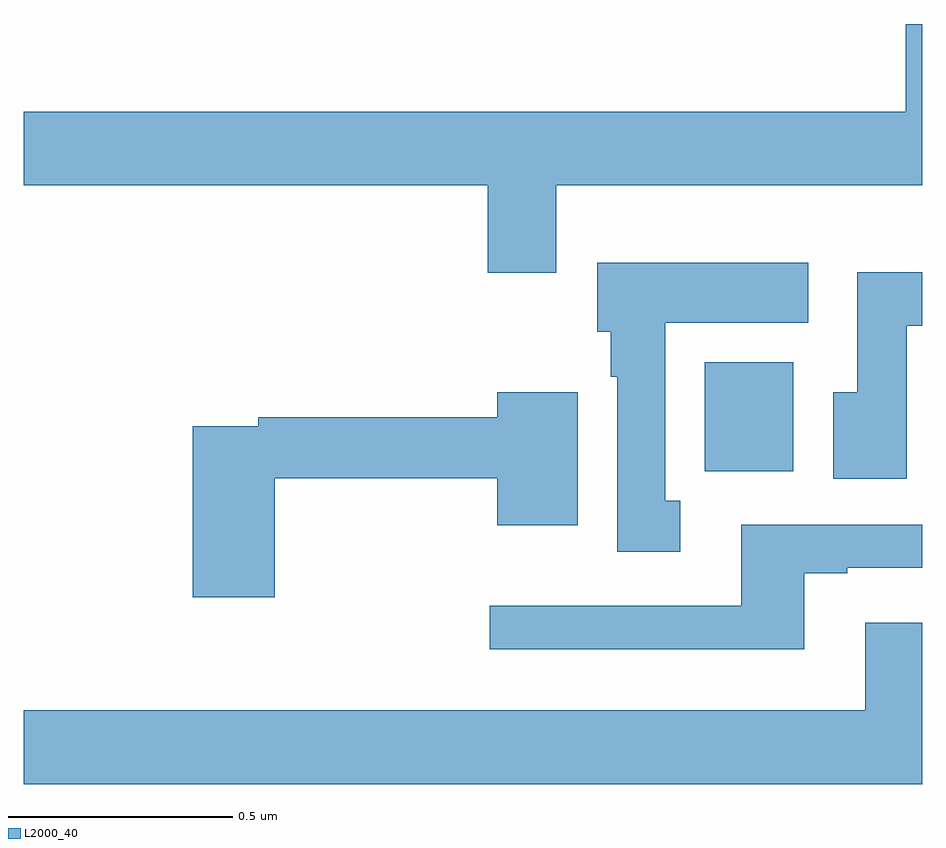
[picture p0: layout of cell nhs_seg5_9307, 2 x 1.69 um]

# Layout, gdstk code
import gdstk
lib = gdstk.Library(unit=1e-6, precision=1e-09)
def R(c, l, rs):  # rectangles x0, y0, x1, y1
    for r in rs: c.add(gdstk.rectangle(r[:2], r[2:], *l))
def P(c, l, *ps):  # polygons
    for p in ps: c.add(gdstk.Polygon(p, *l))
L2000_40 = (2000, 40)

nhs_seg5_9307 = lib.new_cell('nhs_seg5_9307')
R(nhs_seg5_9307, L2000_40, [(233.516,874.772,233.713,875.014)])
P(nhs_seg5_9307, L2000_40, [(233.185,875.408),(234,875.408),(234,875.767),(233.963,875.767),(233.963,875.572),(232,875.572),(232,875.408),(233.033,875.408),(233.033,875.214),(233.185,875.214)],
  [(233.461,874.706),(233.428,874.706),(233.428,875.102),(233.746,875.102),(233.746,875.236),(233.276,875.236),(233.276,875.082),(233.306,875.082),(233.306,874.982),(233.321,874.982),(233.321,874.593),(233.461,874.593)],
  [(233.965,875.096),(234,875.096),(234,875.215),(233.855,875.215),(233.855,874.948),(233.801,874.948),(233.801,874.755),(233.965,874.755)],
  [(232.559,874.756),(233.054,874.756),(233.054,874.652),(233.233,874.652),(233.233,874.948),(233.054,874.948),(233.054,874.892),(232.522,874.892),(232.522,874.872),(232.376,874.872),(232.376,874.491),(232.559,874.491)],
  [(233.737,874.545),(233.833,874.545),(233.833,874.557),(234,874.557),(234,874.653),(233.597,874.653),(233.597,874.473),(233.037,874.473),(233.037,874.376),(233.737,874.376)],
  [(234,874.435),(233.873,874.435),(233.873,874.24),(232,874.24),(232,874.076),(234,874.076)])

lib.write_gds('nhs_seg5_9307.gds')
